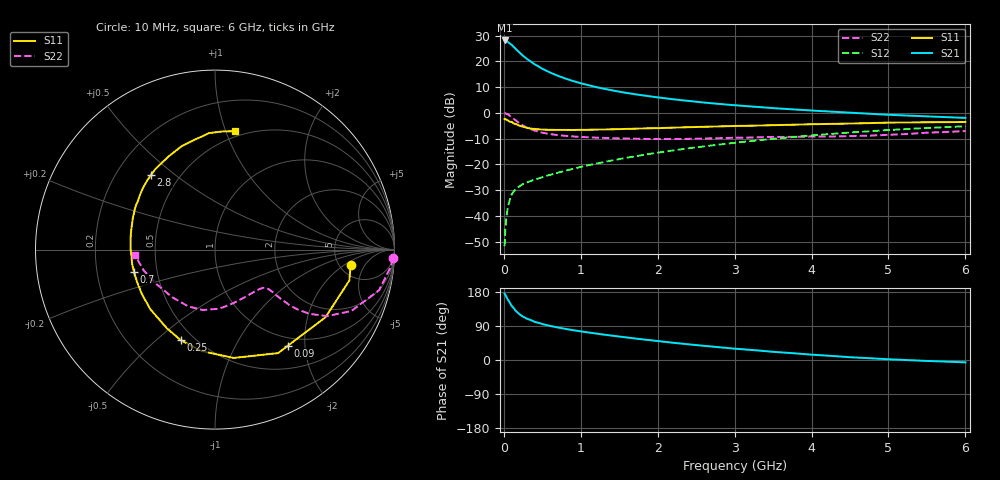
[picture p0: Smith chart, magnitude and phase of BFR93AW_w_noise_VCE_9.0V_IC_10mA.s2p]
! (c) 2017  Infineon Technologies AG, Munich
! Infineon Technologies  Discrete & RF Semiconductors
! BFR93AW
! VCE =  9.0 V,  IC =  10 mA
! Common Emitter S-Parameters:  Jan 2017
# GHz  S  MA  R  50
!  f  S11  S21  S12  S22
! GHz  MAG  ANG  MAG  ANG  MAG  ANG  MAG  ANG
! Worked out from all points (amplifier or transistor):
!   77 points, 10 MHz to 6 GHz, reference 50 ohm
!   highest |S21| = 28.1 dB at 10 MHz (marker M1)
!   |S21| within 3 dB of that: start of sweep to 145.1 MHz
!   unconditionally stable (mu >= 1): 871.2 MHz to 2.101 GHz
!   at 130 MHz: K = 0.30, MSG = 28.0 dB, |S12| = -30.4 dB
!   at 2.2 GHz: K = 0.99, MSG = 9.9 dB, |S12| = -14.5 dB
!   at 6 GHz: K = 0.85, MSG = 1.6 dB, |S12| = -5.2 dB
!   lowest NFmin = 1.25 dB at 450 MHz
!   S11 on the Smith chart (normalised r, x): 10 MHz: 6.29, -2.57; 90 MHz: 0.85, -1.67; 250 MHz: 0.42, -0.60; 700 MHz: 0.37, -0.12; 2.8 GHz: 0.35, +0.42; 6 GHz: 0.45, +1.07
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0.01  0.7608 -6.5  25.53 175.5  0.0026 90.3  0.9934 -2.8
0.02  0.7681 -12.9  25.52 171.7  0.0057 86.6  0.9825 -5.8
0.05  0.7221 -31.4  24.21 159.9  0.0141 75.3  0.9425 -13.8
0.09  0.6721 -53.0  21.55 147.0  0.0236 65.6  0.853 -21.9
0.1  0.6755 -58.6  21.08 143.3  0.026 64.3  0.8337 -24.2
0.15  0.6126 -80.2  17.79 130.7  0.0329 58.0  0.7256 -30.7
0.2  0.5705 -97.4  15.03 121.4  0.0377 54.6  0.6367 -34.2
0.25  0.5393 -110.8  12.88 114.3  0.0418 52.4  0.5703 -35.9
0.3  0.5139 -121.4  11.17 109.0  0.0449 52.1  0.5193 -36.7
0.4  0.4902 -137.1  8.805 100.8  0.0509 52.8  0.4543 -36.8
0.5  0.4769 -148.7  7.206 94.9  0.0566 54.8  0.4142 -36.6
0.6  0.4702 -157.5  6.106 90.0  0.063 55.9  0.3892 -36.3
0.7  0.4682 -164.7  5.28 85.9  0.0689 58.3  0.3719 -36.4
0.9  0.4668 -175.9  4.159 78.7  0.0823 61.1  0.3503 -37.6
1.1  0.4719 175.4  3.454 72.7  0.097 63.2  0.3375 -39.8
1.5  0.4855 161.7  2.588 61.9  0.1272 65.2  0.3209 -46.8
2.1  0.5125 145.7  1.924 47.8  0.1786 64.8  0.312 -61.9
2.8  0.5486 130.4  1.497 33.6  0.2436 61.4  0.3249 -82.1
3.1  0.5618 124.3  1.377 28.4  0.2734 59.1  0.3314 -90.5
4.1  0.608 106.3  1.094 12.8  0.3765 49.7  0.3487 -118.6
5.1  0.6512 91.6  0.909 1.1  0.4748 38.2  0.3824 -152.1
6  0.6682 80.6  0.802 -6.2  0.5519 27.2  0.4463 -175.9
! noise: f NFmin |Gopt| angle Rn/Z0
0.45  1.25  0.15  94  0.13
0.9  1.55  0.24  150  0.14
1.9  2.61  0.47  -148  0.18
2.4  3.24  0.54  -131  0.36
